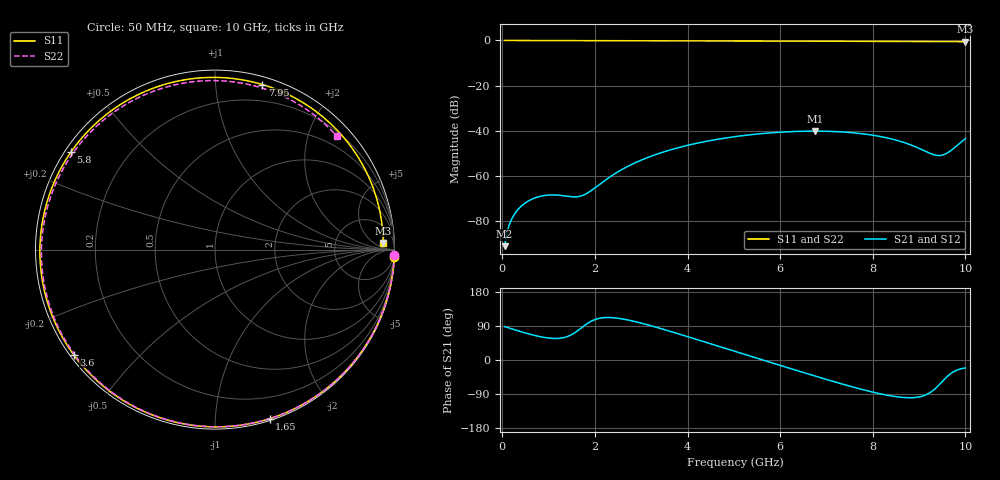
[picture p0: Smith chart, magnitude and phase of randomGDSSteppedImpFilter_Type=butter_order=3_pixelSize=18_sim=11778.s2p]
! freq	dB(S11)	phase(S11)	dB(S12)	phase(S12)
!  dB(S21)	phase(S21)	dB(S22)	phase(S22)
!S-par simulation data
#  GHz  S  DB  R 50
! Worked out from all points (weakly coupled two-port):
!   200 points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, 50 MHz to 10 GHz, reference 50 ohm
!   highest |S21| = -40.20 dB at 6.75 GHz (marker M1); lowest = -91.2 dB at 50 MHz (marker M2)
!   lowest |S11| = -0.6 dB at 10 GHz (marker M3), VSWR 31.16, Z = 1.12e+03 + j700 ohm
!   |S11| at or under -10 dB: nowhere
!   |S22| runs from -0.7 to 0.0 dB; largest |S21 - S12| = 0
!   S11 on the Smith chart (normalised r, x): 50 MHz: 0, -50; 1.65 GHz: 0.01, -1.37; 3.6 GHz: 0.01, -0.33; 5.8 GHz: 0.02, +0.31; 7.95 GHz: 0.06, +1.33; 10 GHz: 22, +14
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0.05  -0.00 -2.3  -91.21 88.1  -91.21 88.1  -0.00 -1.7
0.2  -0.01 -9.1  -79.29 82.3  -79.29 82.3  -0.01 -6.7
0.4  -0.03 -18.2  -73.64 74.8  -73.64 74.8  -0.02 -13.3
0.75  -0.04 -33.8  -69.51 63.3  -69.51 63.3  -0.03 -24.8
1.2  -0.07 -53.3  -68.57 57.0  -68.57 57.0  -0.05 -39.4
1.65  -0.09 -72.1  -69.20 79.3  -69.20 79.3  -0.07 -53.7
1.75  -0.09 -76.1  -68.59 88.7  -68.59 88.7  -0.07 -56.8
2.5  -0.12 -104.9  -58.21 110.2  -58.21 110.2  -0.10 -79.6
3.4  -0.15 -136.7  -49.98 83.8  -49.98 83.8  -0.13 -105.6
3.6  -0.16 -143.4  -48.69 76.6  -48.69 76.6  -0.14 -111.2
4.3  -0.19 -166.2  -45.14 50.3  -45.14 50.3  -0.17 -130.5
5.05  -0.23 169.9  -42.57 21.7  -42.57 21.7  -0.22 -150.9
5.8  -0.27 145.9  -40.96 -6.7  -40.96 -6.7  -0.27 -171.4
6.7  -0.32 116.6  -40.21 -40.3  -40.21 -40.3  -0.34 162.8
6.75  -0.32 114.9  -40.20 -42.2  -40.20 -42.2  -0.34 161.3
7.35  -0.35 94.7  -40.58 -63.7  -40.58 -63.7  -0.39 142.8
7.95  -0.38 74.0  -41.86 -83.3  -41.86 -83.3  -0.45 123.0
8.35  -0.40 60.0  -43.41 -93.8  -43.41 -93.8  -0.48 108.9
8.9  -0.44 40.7  -46.96 -99.1  -46.96 -99.1  -0.53 88.3
9.45  -0.48 21.4  -51.01 -63.2  -51.01 -63.2  -0.58 66.2
9.65  -0.51 14.4  -49.35 -39.1  -49.35 -39.1  -0.60 57.9
10  -0.56 2.3  -43.51 -21.0  -43.51 -21.0  -0.66 42.9
